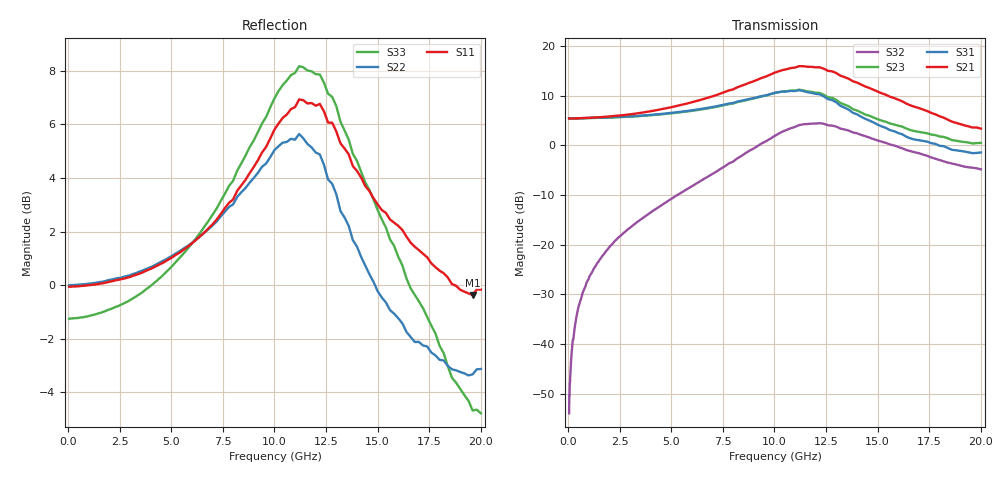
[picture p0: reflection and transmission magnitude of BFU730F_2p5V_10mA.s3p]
! Filename:  P:\Prog\Test\Noise\ATS_data\Testdata_Net\Split files Spar\BFU730_2W_B1_Bias6_2.5V_1mA_25mA_D.s2p
! Date/Time: Fri 29/Apr/2011 15:08:32
! BFU730_2W_B1_Bias6_2.5V_1mA_25mA_R.s2p
! MDIF S-parameter v. bias file
! BFU730_2W_B1_2.5V_1mA_25mA
! Date/time Thu Mar 17 13:38:09 2011
! VAR V_out= 2.5000
! VAR I_out= 9.9400
! VAR V_in= 0.7993
! VAR I_in= 0.0309
! Device data file deembeded for feedlines and parallel
! Original file: \Split files Spar\BFU730_2W_B1_Bias6_2.5V_1mA_25mA_R.s2p
! Feed-files: PR003V01_101208_Feed1.s2p, PR003V01_101208_Feed2.s2p
! Parallel-file: PR003V01_101208_Par.s2p
!3-port S-parameters
# GHz S MA R 50
!  Freq-GHz  S11-mag  S11-arg  S12-mag  S12-arg  S13-mag  S13-arg  S21-mag  S21-arg  S22-mag  S22-arg  S23-mag  S23-arg  S31-mag  S31-arg  S32-mag  S32-arg  S33-mag  S33-arg
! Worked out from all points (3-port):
!   165 points, 60 MHz to 20 GHz, reference 50 ohm
!   strongest paths, dB at 60 MHz, 1.35 GHz, 4.3 GHz, 11.8 GHz, 20 GHz:
!     S21: 5.4, 5.6, 7.1, 15.8, 3.3
!     S31: 5.4, 5.5, 6.2, 10.5, -1.5
!     S23: 5.4, 5.5, 6.1, 10.7, 0.5
!     S32: -54.0, -24.3, -12.7, 4.3, -4.9
!   lowest |S11| = -0.4 dB at 19.6 GHz (marker M1), VSWR 46.62, Z = 7.09 + j118 ohm
!   |S11| at or under -10 dB: nowhere
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0.06  0.993 -0.4  0.002 77.0  0.008 34.5
      1.858 179.5  0.999 -0.2  1.859 -0.4
      1.865 -0.3  0.002 80.4  0.865 179.5
1.4  1.004 -9.5  0.054 90.2  0.112 84.8
     1.902 168.4  1.011 -6.7  1.879 -8.1
     1.886 -6.6  0.064 93.1  0.883 170.1
7.6  1.392 -68.6  0.473 72.9  0.915 67.3
     3.431 111.0  1.371 -50.9  2.538 -57.4
     2.57 -47.9  0.613 90.4  1.48 119.1
10.2  2.003 -123.4  0.935 42.0  1.755 36.6
      5.537 66.8  1.817 -98.5  3.417 -105.5
      3.419 -91.3  1.304 64.0  2.303 77.3
11.2  2.222 -154.8  1.106 21.1  2.053 15.5
      6.244 41.0  1.915 -127.7  3.623 -134.6
      3.58 -118.4  1.595 44.4  2.564 52.4
12.2  2.18 170.0  1.116 -3.1  2.058 -8.9
      6.081 12.0  1.754 -161.7  3.36 -167.8
      3.246 -149.7  1.667 21.5  2.474 24.5
13.8  1.668 123.8  0.849 -31.5  1.529 -38.0
      4.402 -24.8  1.213 151.0  2.308 147.0
      2.118 167.5  1.345 -6.2  1.758 -10.3
16.4  1.231 77.1  0.516 -52.9  0.891 -62.3
      2.616 -60.0  0.817 97.8  1.469 97.7
      1.214 118.6  0.893 -26.5  1.028 -40.5
19.6  0.958 45.7  0.337 -55.9  0.431 -70.8
      1.505 -84.2  0.681 62.5  1.04 59.1
      0.831 77.5  0.594 -33.2  0.583 -56.3
20  0.981 41.8  0.316 -57.8  0.4 -75.4
    1.469 -88.2  0.697 58.5  1.055 55.9
    0.845 74.6  0.571 -35.0  0.576 -57.7
